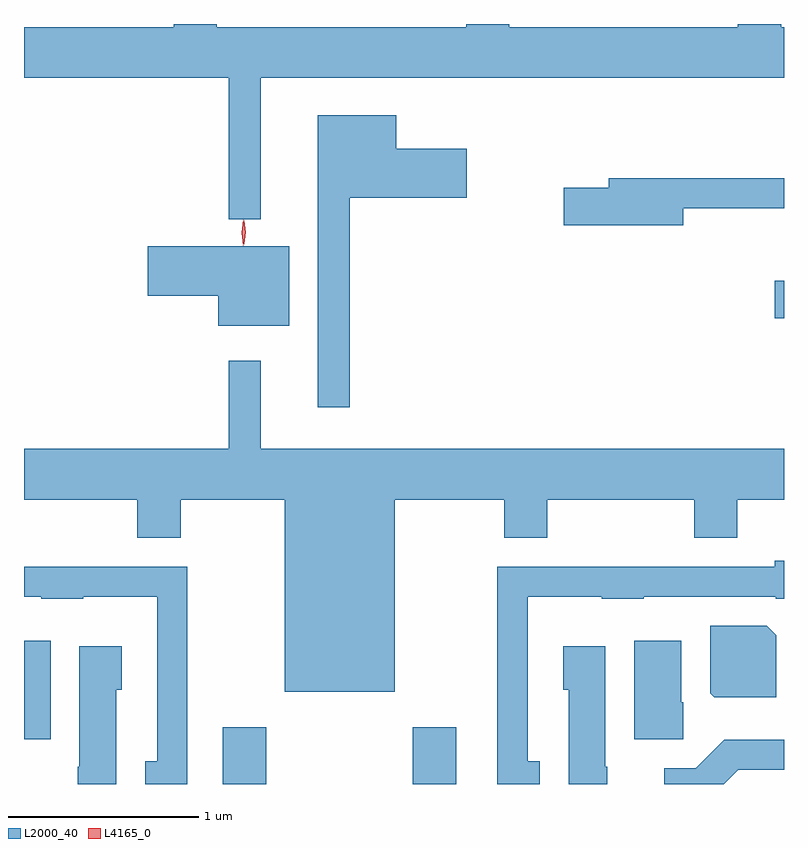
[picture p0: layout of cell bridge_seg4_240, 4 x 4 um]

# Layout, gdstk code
import gdstk
lib = gdstk.Library(unit=1e-6, precision=1e-09)
def R(c, l, rs):  # rectangles x0, y0, x1, y1
    for r in rs: c.add(gdstk.rectangle(r[:2], r[2:], *l))
def P(c, l, *ps):  # polygons
    for p in ps: c.add(gdstk.Polygon(p, *l))
L2000_40 = (2000, 40)
L4165_0 = (4165, 0)

bridge_seg4_240 = lib.new_cell('bridge_seg4_240')
R(bridge_seg4_240, L2000_40, [(742.571,1377.6,742.799,1377.899), (743.571,1377.6,743.799,1377.899), (741.524,1377.836,741.664,1378.354), (745.476,1380.051,745.524,1380.249)])
P(bridge_seg4_240, L2000_40, [(742.769,1381.316),(745.524,1381.316),(745.524,1381.584),(745.509,1381.584),(745.509,1381.6),(745.281,1381.6),(745.281,1381.584),(744.079,1381.584),(744.079,1381.6),(743.851,1381.6),(743.851,1381.584),(742.539,1381.584),(742.539,1381.6),(742.311,1381.6),(742.311,1381.584),(741.524,1381.584),(741.524,1381.316),(742.601,1381.316),(742.601,1380.573),(742.769,1380.573)],
  [(743.239,1380.686),(743.854,1380.686),(743.854,1380.944),(743.484,1380.944),(743.484,1381.119),(743.071,1381.119),(743.071,1379.583),(743.239,1379.583)],
  [(744.994,1380.631),(745.524,1380.631),(745.524,1380.789),(744.601,1380.789),(744.601,1380.739),(744.366,1380.739),(744.366,1380.541),(744.994,1380.541)],
  [(742.919,1380.429),(742.176,1380.429),(742.176,1380.171),(742.546,1380.171),(742.546,1380.011),(742.919,1380.011)],
  [(743.474,1379.096),(744.051,1379.096),(744.051,1378.896),(744.279,1378.896),(744.279,1379.096),(745.051,1379.096),(745.051,1378.896),(745.279,1378.896),(745.279,1379.096),(745.524,1379.096),(745.524,1379.364),(742.769,1379.364),(742.769,1379.828),(742.601,1379.828),(742.601,1379.364),(741.524,1379.364),(741.524,1379.096),(742.121,1379.096),(742.121,1378.896),(742.349,1378.896),(742.349,1379.096),(742.896,1379.096),(742.896,1378.086),(743.474,1378.086)],
  [(744.239,1377.719),(744.174,1377.719),(744.174,1378.586),(744.565,1378.586),(744.565,1378.576),(744.785,1378.576),(744.785,1378.586),(745.48,1378.586),(745.48,1378.576),(745.524,1378.576),(745.524,1378.774),(745.476,1378.774),(745.476,1378.744),(744.016,1378.744),(744.016,1377.6),(744.239,1377.6)],
  [(742.384,1378.744),(741.524,1378.744),(741.524,1378.586),(741.615,1378.586),(741.615,1378.576),(741.835,1378.576),(741.835,1378.586),(742.226,1378.586),(742.226,1377.719),(742.161,1377.719),(742.161,1377.6),(742.384,1377.6)],
  [(745.484,1378.384),(745.434,1378.434),(745.136,1378.434),(745.136,1378.077),(745.157,1378.056),(745.484,1378.056)],
  [(744.994,1378.03),(744.984,1378.03),(744.984,1378.354),(744.736,1378.354),(744.736,1377.836),(744.994,1377.836)],
  [(744.594,1377.69),(744.584,1377.69),(744.584,1378.324),(744.361,1378.324),(744.361,1378.096),(744.391,1378.096),(744.391,1377.6),(744.594,1377.6)],
  [(742.009,1378.096),(742.039,1378.096),(742.039,1378.324),(741.816,1378.324),(741.816,1377.69),(741.806,1377.69),(741.806,1377.6),(742.009,1377.6)],
  [(745.282,1377.676),(745.524,1377.676),(745.524,1377.834),(745.209,1377.834),(745.059,1377.684),(744.893,1377.684),(744.893,1377.6),(745.206,1377.6)])
P(bridge_seg4_240, L4165_0, [(742.678,1380.434),(742.678,1380.434),(742.669,1380.502),(742.678,1380.57),(742.679,1380.57),(742.679,1380.57),(742.689,1380.502),(742.679,1380.434)],
  [(742.682,1380.44),(742.682,1380.44),(742.672,1380.503),(742.682,1380.566),(742.682,1380.567),(742.682,1380.566),(742.692,1380.503),(742.682,1380.44)])

lib.write_gds('bridge_seg4_240.gds')
